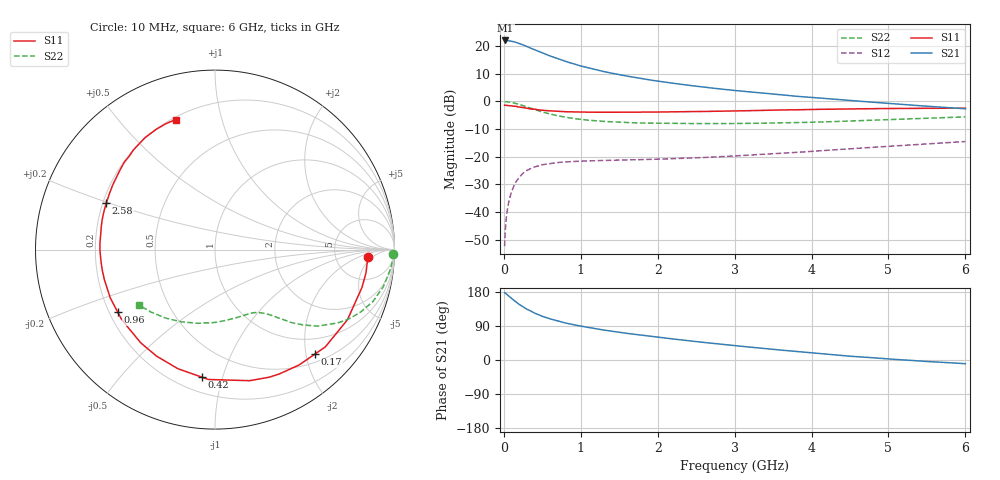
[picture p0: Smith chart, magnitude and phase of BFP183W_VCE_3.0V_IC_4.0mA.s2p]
! Infineon Technologies  Discrete & RF Semiconductors
! BFP183W
! VCE = 3.0 V,  IC =  4.0 mA
! Common Emitter S-Parameters:  Jan 2016
# GHz  S  MA  R  50
!  f  S11  S21  S12  S22
! GHz  MAG  ANG  MAG  ANG  MAG  ANG  MAG  ANG
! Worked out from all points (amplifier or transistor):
!   210 points, 10 MHz to 6 GHz, reference 50 ohm
!   highest |S21| = 22.1 dB at 20 MHz (marker M1)
!   |S21| within 3 dB of that: start of sweep to 368.1 MHz
!   unconditionally stable (mu >= 1): 1.917 GHz to 5.93 GHz
!   at 185 MHz: K = 0.13, MSG = 24.6 dB, |S12| = -28.0 dB
!   at 1.52 GHz: K = 0.84, MSG = 15.4 dB, |S12| = -21.2 dB
!   at 6 GHz: K = 0.99, MSG = 5.9 dB, |S12| = -14.5 dB
!   S11 on the Smith chart (normalised r, x): 10 MHz: 12, -4; 170 MHz: 0.66, -2.17; 420 MHz: 0.30, -0.86; 960 MHz: 0.23, -0.28; 2.58 GHz: 0.21, +0.20; 6 GHz: 0.21, +0.72
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0.01  0.8552 -2.9  12.64 177.5  0.0024 90.6  0.9936 -1.3
0.02  0.8505 -5.8  12.71 176.5  0.005 87.7  0.9865 -2.6
0.05  0.8457 -14.4  12.64 171.2  0.012 83.4  0.9836 -6.4
0.1  0.8351 -27.9  12.32 162.6  0.0231 75.4  0.9605 -12.4
0.15  0.8196 -41.4  11.86 154.3  0.0338 68.1  0.9263 -18.2
0.17  0.8053 -46.3  11.58 151.4  0.0371 65.4  0.9084 -20.1
0.2  0.7954 -53.9  11.22 146.7  0.0422 62.2  0.8836 -23.1
0.24  0.78 -62.7  10.7 141.6  0.0487 58.0  0.848 -26.6
0.3  0.7554 -75.2  9.871 134.0  0.0566 52.0  0.793 -31.1
0.42  0.7152 -95.7  8.414 122.2  0.0665 43.4  0.6983 -37.5
0.5  0.6951 -107.3  7.569 115.2  0.0715 39.2  0.6449 -40.6
0.6  0.6769 -118.8  6.663 108.5  0.0754 34.9  0.5916 -43.5
0.8  0.6516 -136.7  5.324 97.7  0.0805 29.9  0.5187 -47.2
0.96  0.6444 -147.4  4.562 91.0  0.0826 27.5  0.4811 -49.5
1.02  0.6423 -150.9  4.32 88.7  0.0832 26.9  0.4704 -50.3
1.44  0.6382 -170.1  3.169 75.0  0.0864 24.9  0.425 -55.7
2.02  0.6439 170.9  2.314 59.8  0.0904 26.8  0.4021 -64.0
2.58  0.6586 156.9  1.832 46.8  0.0963 30.1  0.3972 -73.5
3.1  0.6772 145.6  1.536 36.1  0.1051 32.8  0.3998 -83.4
4.1  0.72 127.9  1.156 17.2  0.1277 36.2  0.4245 -105.4
5.1  0.7467 115.3  0.9 1.4  0.1574 36.2  0.4745 -127.8
6  0.7569 106.9  0.737 -9.8  0.188 34.0  0.5261 -144.1
